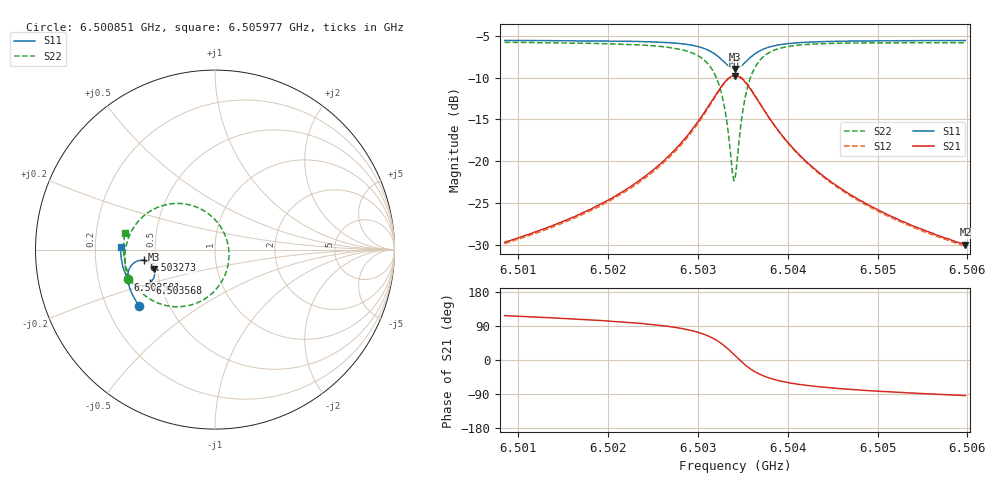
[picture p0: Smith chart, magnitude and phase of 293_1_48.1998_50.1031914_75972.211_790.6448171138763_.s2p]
#  HZ  S  RI  R  50.00
! Rohde & Schwarz Vector Network Analyzer
! Rohde-Schwarz,ZNB20-2Port,1311601062101988,3.16
! Created: UTC 3/20/2024, 11:49:09 AM
! freq[Hz]  re:S11  im:S11  re:S21  im:S21  re:S12  im:S12  re:S22  im:S22
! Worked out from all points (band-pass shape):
!   401 points, 6.500851 GHz to 6.505977 GHz, reference 50 ohm
!   highest |S21| = -9.77 dB at 6.503414 GHz (marker M1); lowest = -30.0 dB at 6.505977 GHz (marker M2)
!   |S21| within 3 dB of the highest: 6.503157 GHz to 6.50367 GHz (513 kHz wide, 0.00789 % of centre)
!   lowest |S11| = -9.0 dB at 6.503414 GHz (marker M3), VSWR 2.10, Z = 24.2 - j6.06 ohm
!   |S11| at or under -10 dB: nowhere
!   |S22| runs from -22.3 to -5.8 dB; largest |S21 - S12| = 0.011
!   S11 on the Smith chart (normalised r, x): 6.500851 GHz: 0.34, -0.30; 6.502581 GHz: 0.33, -0.15; 6.503273 GHz: 0.43, -0.06; 6.503568 GHz: 0.44, -0.20; 6.505977 GHz: 0.31, +0.01
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6.5008506e9  -0.4217 -0.3153  -0.015 0.0293  -0.0133 0.0294  -0.4869 -0.163
6.5017092e9  -0.4592 -0.2528  -0.0145 0.0469  -0.012 0.0463  -0.5018 -0.0732
6.5021706e9  -0.4759 -0.2125  -0.0117 0.0651  -0.0087 0.0643  -0.4999 -0.00941
6.5025679e9  -0.4857 -0.1695  -0.00288 0.0948  0.000744 0.0927  -0.4811 0.0679
6.5025807e9  -0.4859 -0.1679  -0.00229 0.0963  0.00126 0.0939  -0.4799 0.0709
6.5028242e9  -0.4852 -0.1328  0.0159 0.1292  0.0197 0.1255  -0.4412 0.1404
6.5030036e9  -0.4738 -0.0994  0.0508 0.1653  0.0539 0.1599  -0.3729 0.2062
6.5031702e9  -0.439 -0.0666  0.128 0.1983  0.1293 0.1919  -0.2308 0.2565
6.5032728e9  -0.3965 -0.0599  0.2129 0.1892  0.2132 0.1838  -0.0831 0.2281
6.503324e9  -0.3712 -0.0687  0.2609 0.161  0.2617 0.1565  -0.0034 0.1707
6.5033881e9  -0.3449 -0.095  0.308 0.0981  0.3103 0.0929  0.0672 0.049
6.5034137e9  -0.3387 -0.1093  0.3179 0.0662  0.321 0.0603  0.0777 -0.0102
6.5034266e9  -0.3369 -0.1168  0.3204 0.0496  0.3237 0.0431  0.0782 -0.0404
6.5035034e9  -0.3429 -0.1611  0.3034 -0.0439  0.3052 -0.0537  0.0202 -0.2036
6.5035675e9  -0.3639 -0.1866  0.261 -0.0972  0.2598 -0.1082  -0.0749 -0.285
6.5036701e9  -0.4029 -0.2016  0.1875 -0.1328  0.1823 -0.1421  -0.2228 -0.3182
6.5038367e9  -0.4484 -0.1916  0.1071 -0.1298  0.1002 -0.1348  -0.3677 -0.2723
6.5040161e9  -0.4756 -0.1704  0.0632 -0.1102  0.0571 -0.1123  -0.4387 -0.208
6.5042724e9  -0.4962 -0.1404  0.0336 -0.0862  0.029 -0.0869  -0.4816 -0.1367
6.5046441e9  -0.5113 -0.102  0.0151 -0.0641  0.0119 -0.0637  -0.5035 -0.0642
6.5051311e9  -0.5211 -0.0573  0.00495 -0.0471  0.00276 -0.0466  -0.5099 0.00352
6.5059769e9  -0.5258 0.0141  -0.00214 -0.0317  -0.00342 -0.0309  -0.5018 0.0917
